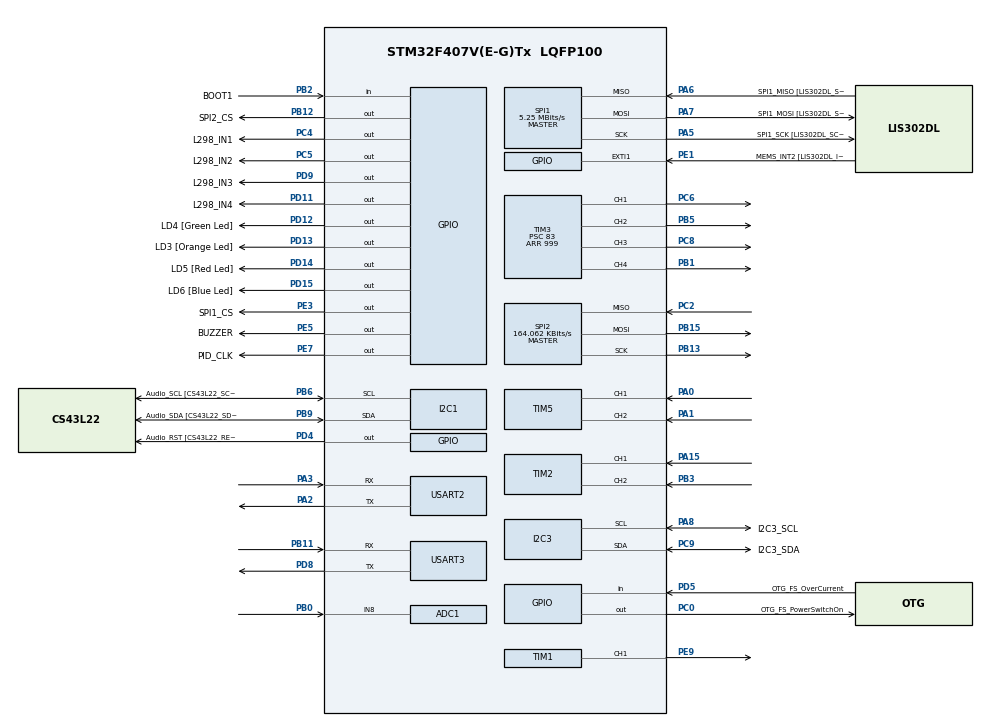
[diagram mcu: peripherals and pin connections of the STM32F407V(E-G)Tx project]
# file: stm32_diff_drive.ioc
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ADC1.Channel-2\#ChannelRegularConversion=ADC_CHANNEL_8
ADC1.NbrOfConversionFlag=1
ADC1.Rank-2\#ChannelRegularConversion=1
ADC1.SamplingTime-2\#ChannelRegularConversion=ADC_SAMPLETIME_3CYCLES
ADC1.master=1
Dma.Request0=TIM1_CH1
Dma.Request1=USART3_RX
Dma.Request2=USART3_TX
Dma.TIM1_CH1.0.Direction=DMA_MEMORY_TO_PERIPH
Dma.TIM1_CH1.0.FIFOMode=DMA_FIFOMODE_DISABLE
Dma.TIM1_CH1.0.Instance=DMA2_Stream1
Dma.TIM1_CH1.0.MemDataAlignment=DMA_MDATAALIGN_HALFWORD
Dma.TIM1_CH1.0.MemInc=DMA_MINC_ENABLE
Dma.TIM1_CH1.0.Mode=DMA_NORMAL
Dma.TIM1_CH1.0.PeriphDataAlignment=DMA_PDATAALIGN_HALFWORD
Dma.TIM1_CH1.0.PeriphInc=DMA_PINC_DISABLE
Dma.TIM1_CH1.0.Priority=DMA_PRIORITY_VERY_HIGH
Dma.USART3_RX.1.Direction=DMA_PERIPH_TO_MEMORY
Dma.USART3_RX.1.FIFOMode=DMA_FIFOMODE_DISABLE
Dma.USART3_RX.1.Instance=DMA1_Stream1
Dma.USART3_RX.1.MemDataAlignment=DMA_MDATAALIGN_BYTE
Dma.USART3_RX.1.MemInc=DMA_MINC_ENABLE
Dma.USART3_RX.1.Mode=DMA_CIRCULAR
Dma.USART3_RX.1.PeriphDataAlignment=DMA_PDATAALIGN_BYTE
Dma.USART3_RX.1.PeriphInc=DMA_PINC_DISABLE
Dma.USART3_RX.1.Priority=DMA_PRIORITY_VERY_HIGH
Dma.USART3_TX.2.Direction=DMA_MEMORY_TO_PERIPH
Dma.USART3_TX.2.FIFOMode=DMA_FIFOMODE_DISABLE
Dma.USART3_TX.2.Instance=DMA1_Stream3
Dma.USART3_TX.2.MemDataAlignment=DMA_MDATAALIGN_BYTE
Dma.USART3_TX.2.MemInc=DMA_MINC_ENABLE
Dma.USART3_TX.2.Mode=DMA_NORMAL
Dma.USART3_TX.2.PeriphDataAlignment=DMA_PDATAALIGN_BYTE
Dma.USART3_TX.2.PeriphInc=DMA_PINC_DISABLE
Dma.USART3_TX.2.Priority=DMA_PRIORITY_HIGH
I2C3.I2C_Mode=I2C_Standard
Mcu.Family=STM32F4
Mcu.Name=STM32F407V(E-G)Tx
Mcu.Package=LQFP100
NVIC.ADC_IRQn=true\:0\:0\:false\:false\:true\:true\:true\:true
NVIC.DMA1_Stream1_IRQn=true\:0\:0\:false\:false\:true\:false\:true\:true
NVIC.DMA1_Stream3_IRQn=true\:0\:0\:false\:false\:true\:false\:true\:true
NVIC.DMA2_Stream1_IRQn=true\:0\:0\:false\:false\:true\:false\:true\:true
NVIC.PriorityGroup=NVIC_PRIORITYGROUP_0
NVIC.TIM1_UP_TIM10_IRQn=true\:0\:0\:false\:false\:true\:true\:true\:true
NVIC.TIM2_IRQn=true\:0\:0\:false\:false\:true\:true\:true\:true
NVIC.TIM5_IRQn=true\:0\:0\:false\:false\:true\:true\:true\:true
NVIC.TIM7_IRQn=true\:0\:0\:false\:false\:true\:true\:true\:true
NVIC.USART2_IRQn=true\:0\:0\:false\:false\:true\:true\:true\:true
NVIC.USART3_IRQn=true\:0\:0\:false\:false\:true\:true\:true\:true
PA0-WKUP.Signal=S_TIM5_CH1
PA1.Signal=S_TIM5_CH2
PA10.GPIO_Label=OTG_FS_ID
PA10.GPIO_Mode=GPIO_MODE_AF_PP
PA10.GPIO_PuPd=GPIO_NOPULL
PA10.GPIO_Speed=GPIO_SPEED_FREQ_LOW
PA10.Signal=USB_OTG_FS_ID
PA11.GPIO_Label=OTG_FS_DM
PA11.GPIO_Mode=GPIO_MODE_AF_PP
PA11.GPIO_PuPd=GPIO_NOPULL
PA11.GPIO_Speed=GPIO_SPEED_FREQ_LOW
PA11.Signal=USB_OTG_FS_DM
PA12.GPIO_Label=OTG_FS_DP
PA12.GPIO_Mode=GPIO_MODE_AF_PP
PA12.GPIO_PuPd=GPIO_NOPULL
PA12.GPIO_Speed=GPIO_SPEED_FREQ_LOW
PA12.Signal=USB_OTG_FS_DP
PA13.GPIO_Label=SWDIO
PA13.Mode=Serial_Wire
PA13.Signal=SYS_JTMS-SWDIO
PA14.GPIO_Label=SWCLK
PA14.Mode=Serial_Wire
PA14.Signal=SYS_JTCK-SWCLK
PA15.Signal=S_TIM2_CH1_ETR
PA2.Mode=Asynchronous
PA2.Signal=USART2_TX
PA3.Mode=Asynchronous
PA3.Signal=USART2_RX
PA4.GPIO_Label=I2S3_WS [CS43L22_LRCK]
PA4.GPIO_Mode=GPIO_MODE_AF_PP
PA4.GPIO_PuPd=GPIO_NOPULL
PA4.GPIO_Speed=GPIO_SPEED_FREQ_LOW
PA4.Signal=I2S3_WS
PA5.GPIO_Label=SPI1_SCK [LIS302DL_SCL/SPC]
PA5.GPIO_Mode=GPIO_MODE_AF_PP
PA5.GPIO_PuPd=GPIO_NOPULL
PA5.GPIO_Speed=GPIO_SPEED_FREQ_LOW
PA5.Mode=Full_Duplex_Master
PA5.Signal=SPI1_SCK
PA6.GPIO_Label=SPI1_MISO [LIS302DL_SDO]
PA6.GPIO_Mode=GPIO_MODE_AF_PP
PA6.GPIO_PuPd=GPIO_NOPULL
PA6.GPIO_Speed=GPIO_SPEED_FREQ_LOW
PA6.Mode=Full_Duplex_Master
PA6.Signal=SPI1_MISO
PA7.GPIO_Label=SPI1_MOSI [LIS302DL_SDA/SDI/SDO]
PA7.GPIO_Mode=GPIO_MODE_AF_PP
PA7.GPIO_PuPd=GPIO_NOPULL
PA7.GPIO_Speed=GPIO_SPEED_FREQ_LOW
PA7.Mode=Full_Duplex_Master
PA7.Signal=SPI1_MOSI
PA8.GPIO_Label=I2C3_SCL
PA8.GPIO_Pu=GPIO_NOPULL
PA8.GPIO_Speed=GPIO_SPEED_FREQ_LOW
PA8.Mode=I2C
PA8.Signal=I2C3_SCL
PA9.GPIO_Label=VBUS_FS
PA9.GPIO_Mode=GPIO_MODE_INPUT
PA9.GPIO_PuPd=GPIO_NOPULL
PA9.Signal=USB_OTG_FS_VBUS
PB0.Signal=ADCx_IN8
PB1.Signal=S_TIM3_CH4
PB10.GPIO_Label=CLK_IN [MP45DT02_CLK]
PB10.GPIO_Mode=GPIO_MODE_AF_PP
PB10.GPIO_PuPd=GPIO_NOPULL
PB10.GPIO_Speed=GPIO_SPEED_FREQ_LOW
PB10.Signal=I2S2_CK
PB11.Mode=Asynchronous
PB11.Signal=USART3_RX
PB12.GPIO_Label=SPI2_CS
PB12.PinState=GPIO_PIN_SET
PB12.Signal=GPIO_Output
PB13.Mode=Full_Duplex_Master
PB13.Signal=SPI2_SCK
PB15.Mode=Full_Duplex_Master
PB15.Signal=SPI2_MOSI
PB2.GPIO_Label=BOOT1
PB2.Signal=GPIO_Input
PB3.Signal=S_TIM2_CH2
PB5.Signal=S_TIM3_CH2
PB6.GPIO_Label=Audio_SCL [CS43L22_SCL]
PB6.GPIO_Mode=GPIO_MODE_AF_OD
PB6.GPIO_Pu=GPIO_PULLUP
PB6.GPIO_PuPd=GPIO_NOPULL
PB6.GPIO_Speed=GPIO_SPEED_FREQ_LOW
PB6.Mode=I2C
PB6.Signal=I2C1_SCL
PB9.GPIO_Label=Audio_SDA [CS43L22_SDA]
PB9.GPIO_Mode=GPIO_MODE_AF_OD
PB9.GPIO_Pu=GPIO_PULLUP
PB9.GPIO_PuPd=GPIO_NOPULL
PB9.GPIO_Speed=GPIO_SPEED_FREQ_LOW
PB9.Mode=I2C
PB9.Signal=I2C1_SDA
PC0.GPIO_Label=OTG_FS_PowerSwitchOn
PC0.GPIO_PuPd=GPIO_NOPULL
PC0.GPIO_Speed=GPIO_SPEED_FREQ_LOW
PC0.PinState=GPIO_PIN_SET
PC0.Signal=GPIO_Output
PC10.GPIO_Label=I2S3_SCK [CS43L22_SCLK]
PC10.GPIO_Mode=GPIO_MODE_AF_PP
PC10.GPIO_PuPd=GPIO_NOPULL
PC10.GPIO_Speed=GPIO_SPEED_FREQ_LOW
PC10.Signal=I2S3_CK
PC12.GPIO_Label=I2S3_SD [CS43L22_SDIN]
PC12.GPIO_Mode=GPIO_MODE_AF_PP
PC12.GPIO_PuPd=GPIO_NOPULL
PC12.GPIO_Speed=GPIO_SPEED_FREQ_LOW
PC12.Signal=I2S3_SD
PC14-OSC32_IN.GPIO_Label=PC14-OSC32_IN
PC14-OSC32_IN.Mode=LSE-External-Oscillator
PC14-OSC32_IN.Signal=RCC_OSC32_IN
PC15-OSC32_OUT.GPIO_Label=PC15-OSC32_OUT
PC15-OSC32_OUT.Mode=LSE-External-Oscillator
PC15-OSC32_OUT.Signal=RCC_OSC32_OUT
PC2.Mode=Full_Duplex_Master
PC2.Signal=SPI2_MISO
PC3.GPIO_Label=PDM_OUT [MP45DT02_DOUT]
PC3.GPIO_Mode=GPIO_MODE_AF_PP
PC3.GPIO_PuPd=GPIO_NOPULL
PC3.GPIO_Speed=GPIO_SPEED_FREQ_LOW
PC3.Signal=I2S2_SD
PC4.GPIO_Label=L298_IN1
PC4.Signal=GPIO_Output
PC5.GPIO_Label=L298_IN2
PC5.Signal=GPIO_Output
PC6.Signal=S_TIM3_CH1
PC7.GPIO_Label=I2S3_MCK [CS43L22_MCLK]
PC7.GPIO_Mode=GPIO_MODE_AF_PP
PC7.GPIO_PuPd=GPIO_NOPULL
PC7.GPIO_Speed=GPIO_SPEED_FREQ_LOW
PC7.Signal=I2S3_MCK
PC8.Signal=S_TIM3_CH3
PC9.GPIO_Label=I2C3_SDA
PC9.GPIO_Pu=GPIO_NOPULL
PC9.GPIO_Speed=GPIO_SPEED_FREQ_LOW
PC9.Mode=I2C
PC9.Signal=I2C3_SDA
PD11.GPIO_Label=L298_IN4
PD11.Signal=GPIO_Output
PD12.GPIO_Label=LD4 [Green Led]
PD12.GPIO_PuPd=GPIO_NOPULL
PD12.GPIO_Speed=GPIO_SPEED_FREQ_LOW
PD12.Signal=GPIO_Output
PD13.GPIO_Label=LD3 [Orange Led]
PD13.GPIO_PuPd=GPIO_NOPULL
PD13.GPIO_Speed=GPIO_SPEED_FREQ_LOW
PD13.Signal=GPIO_Output
PD14.GPIO_Label=LD5 [Red Led]
PD14.GPIO_PuPd=GPIO_NOPULL
PD14.GPIO_Speed=GPIO_SPEED_FREQ_LOW
PD14.Signal=GPIO_Output
PD15.GPIO_Label=LD6 [Blue Led]
PD15.GPIO_PuPd=GPIO_NOPULL
PD15.GPIO_Speed=GPIO_SPEED_FREQ_LOW
PD15.Signal=GPIO_Output
PD4.GPIO_Label=Audio_RST [CS43L22_RESET]
PD4.GPIO_PuPd=GPIO_NOPULL
PD4.GPIO_Speed=GPIO_SPEED_FREQ_LOW
PD4.Signal=GPIO_Output
PD5.GPIO_Label=OTG_FS_OverCurrent
PD5.GPIO_Mode=GPIO_MODE_INPUT
PD5.GPIO_PuPd=GPIO_NOPULL
PD5.Signal=GPIO_Input
PD8.Mode=Asynchronous
PD8.Signal=USART3_TX
PD9.GPIO_Label=L298_IN3
PD9.Signal=GPIO_Output
PE1.GPIO_Label=MEMS_INT2 [LIS302DL_INT2]
PE1.GPIO_ModeDefaultEXTI=GPIO_MODE_EVT_RISING
PE1.GPIO_PuPd=GPIO_NOPULL
PE1.Signal=GPXTI1
PE3.GPIO_Label=SPI1_CS
PE3.Signal=GPIO_Output
PE5.GPIO_Label=BUZZER
PE5.Signal=GPIO_Output
PE7.GPIO_Label=PID_CLK
PE7.Signal=GPIO_Output
PE9.Signal=S_TIM1_CH1
PH0-OSC_IN.GPIO_Label=PH0-OSC_IN
PH0-OSC_IN.Mode=HSE-External-Oscillator
PH0-OSC_IN.Signal=RCC_OSC_IN
PH1-OSC_OUT.GPIO_Label=PH1-OSC_OUT
PH1-OSC_OUT.Mode=HSE-External-Oscillator
PH1-OSC_OUT.Signal=RCC_OSC_OUT
ProjectManager.HeapSize=0x200
ProjectManager.StackSize=0x400
ProjectManager.TargetToolchain=STM32CubeIDE
RCC.48MHZClocksFreq_Value=48000000
RCC.AHBFreq_Value=168000000
RCC.APB1CLKDivider=RCC_HCLK_DIV4
RCC.APB1Freq_Value=42000000
RCC.APB1TimFreq_Value=84000000
RCC.APB2CLKDivider=RCC_HCLK_DIV2
RCC.APB2Freq_Value=84000000
RCC.APB2TimFreq_Value=168000000
RCC.CortexFreq_Value=168000000
RCC.HCLKFreq_Value=168000000
RCC.HSE_VALUE=8000000
RCC.HSI_VALUE=16000000
RCC.PLLM=8
RCC.PLLN=336
RCC.PLLQ=7
RCC.PLLSourceVirtual=RCC_PLLSOURCE_HSE
RCC.SYSCLKFreq_VALUE=168000000
RCC.SYSCLKSource=RCC_SYSCLKSOURCE_PLLCLK
RCC.VCOOutputFreq_Value=336000000
SH.ADCx_IN8.0=ADC1_IN8,IN8
SH.S_TIM1_CH1.0=TIM1_CH1,PWM Generation1 CH1
SH.S_TIM2_CH1_ETR.0=TIM2_CH1,Encoder_Interface
SH.S_TIM2_CH2.0=TIM2_CH2,Encoder_Interface
SH.S_TIM3_CH1.0=TIM3_CH1,PWM Generation1 CH1
SH.S_TIM3_CH2.0=TIM3_CH2,PWM Generation2 CH2
SH.S_TIM3_CH3.0=TIM3_CH3,PWM Generation3 CH3
SH.S_TIM3_CH4.0=TIM3_CH4,PWM Generation4 CH4
SH.S_TIM5_CH1.0=TIM5_CH1,Encoder_Interface
SH.S_TIM5_CH2.0=TIM5_CH2,Encoder_Interface
SPI1.BaudRatePrescaler=SPI_BAUDRATEPRESCALER_16
SPI1.BaudRatePrescaler-Full_Duplex_Master=SPI_BAUDRATEPRESCALER_2
SPI1.CalculateBaudRate=5.25 MBits/s
SPI1.CalculateBaudRate-Full_Duplex_Master=42.0 MBits/s
SPI1.Direction=SPI_DIRECTION_2LINES
SPI1.Mode=SPI_MODE_MASTER
SPI1.Mode-Full_Duplex_Master=SPI_MODE_MASTER
SPI1.VirtualType=VM_MASTER
SPI2.BaudRatePrescaler=SPI_BAUDRATEPRESCALER_256
SPI2.CLKPhase=SPI_PHASE_2EDGE
SPI2.CLKPolarity=SPI_POLARITY_HIGH
SPI2.CalculateBaudRate=164.062 KBits/s
SPI2.Direction=SPI_DIRECTION_2LINES
SPI2.FirstBit=SPI_FIRSTBIT_LSB
SPI2.Mode=SPI_MODE_MASTER
SPI2.TIMode=SPI_TIMODE_DISABLE
SPI2.VirtualType=VM_MASTER
TIM1.AutoReloadPreload=TIM_AUTORELOAD_PRELOAD_ENABLE
TIM1.Channel-PWM\ Generation1\ CH1=TIM_CHANNEL_1
TIM1.Period=209
TIM10.Period=19999
TIM10.Prescaler=167
TIM2.AutoReloadPreload=TIM_AUTORELOAD_PRELOAD_ENABLE
TIM2.EncoderMode=TIM_ENCODERMODE_TI12
TIM2.IC1Filter=10
TIM3.AutoReloadPreload=TIM_AUTORELOAD_PRELOAD_ENABLE
TIM3.Channel-PWM\ Generation1\ CH1=TIM_CHANNEL_1
TIM3.Channel-PWM\ Generation2\ CH2=TIM_CHANNEL_2
TIM3.Channel-PWM\ Generation3\ CH3=TIM_CHANNEL_3
TIM3.Channel-PWM\ Generation4\ CH4=TIM_CHANNEL_4
TIM3.Period=999
TIM3.Prescaler=83
TIM5.AutoReloadPreload=TIM_AUTORELOAD_PRELOAD_ENABLE
TIM5.EncoderMode=TIM_ENCODERMODE_TI12
TIM5.IC1Filter=10
TIM5.IC2Filter=10
TIM7.Period=4999
TIM7.Prescaler=8399
USART2.VirtualMode=VM_ASYNC
USART3.VirtualMode=VM_ASYNC
VP_TIM10_VS_ClockSourceINT.Mode=Enable_Timer
VP_TIM1_VS_ClockSourceINT.Mode=Internal
VP_TIM3_VS_ClockSourceINT.Mode=Internal
VP_TIM7_VS_ClockSourceINT.Mode=Enable_Timer
board=STM32F407G-DISC1

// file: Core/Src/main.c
/* USER CODE BEGIN Header */
/**
  ******************************************************************************
  * @file           : main.c
  * @brief          : Main program body
  ******************************************************************************
  * @attention
  *
  * Copyright (c) 2026 STMicroelectronics.
  * All rights reserved.
  *
  * This software is licensed under terms that can be found in the LICENSE file
  * in the root directory of this software component.
  * If no LICENSE file comes with this software, it is provided AS-IS.
  *
  ******************************************************************************
  */
/* USER CODE END Header */
#include "main.h"
#include "adc.h"
#include "dma.h"
#include "i2c.h"
#include "spi.h"
#include "tim.h"
#include "usart.h"
#include "gpio.h"

/* USER CODE BEGIN Includes */
#include <stdio.h>
#include "peri_control.h"
#include "uart_lib.h"

/* USER CODE END Includes */

/* USER CODE BEGIN PV */
uint8_t is_first_capture = 1;
uint32_t last_capture = 0;
uint32_t duty_cycle = 0;
uint32_t pulse_width = 0;
uint16_t adc_value;
uint32_t ms_tick_count = 0;

/* USER CODE END PV */

void SystemClock_Config(void);

/* USER CODE BEGIN 0 */
// int _write(int file, char *ptr, int len)
//{
//     for (int i = 0; i < len; i++) {
//         ITM_SendChar((*ptr++));
//     }
//     return len;
// }

int __io_putchar(int ch)
{
    USART2_sendChar(ch);
    return ch;
}

// Handler for input capture, calculate duty cycle
void input_capture_tim3_cc1_handler(uint32_t captured_value) {
    if (is_first_capture) {
        last_capture = captured_value;
        is_first_capture = 0;
        return;
    }

    if (captured_value >= last_capture) {
        duty_cycle = captured_value - last_capture;
    } else {
        // Handle timer overflow
        duty_cycle = (0xFFFF - last_capture) + captured_value + 1;
    }

    last_capture = captured_value;

    // Print duty cycle for debugging
    // printf("Captured Duty Cycle: %lu\r\n", duty_cycle);

}

// Measure pulse width on falling edge, used for echo signal from ultrasonic sensor
void input_capture_tim3_cc2_handler(uint32_t falling_value) {
    // Calculate pulse width, when falling edge is captured - rising edge was stored
    if (falling_value >= last_capture) {
        pulse_width = falling_value - last_capture;
    } else {
        // Handle timer overflow
        pulse_width = (0xFFFF - last_capture) + falling_value + 1;
    }

    // float distance = ((float) pulse_width * 0.0343f) / 2.0f; // in cm
    // printf("Distance (cm): %d\r\n", (int) distance);
}

// ADC conversion complete interrupt handler
void adc1_interrupt_handler(uint16_t val)
{
    adc_value = val;
    // printf("ADC Value: %d\r\n", adc_value);
}

float ADC_readTemperature(uint16_t adc_raw)
{
    float vsense;
    float temperature;

    // Convert to Vsense
    vsense = (float)adc_raw * 3300.0f / 4095.0f;

    // Calculate temperature in Celsius
    temperature = ((vsense - 760.0f) / 2.5f) + 25.0f;

    return temperature;
}

void tim7_interrupt_handler(void)
{
    // Trigger ADC conversion
    ADC1_triggerConvert();

    // Toggle LED LD3
    LL_GPIO_TogglePin(LD3_GPIO_Port, LD3_Pin);

    // // Printf encoder
    // encoder_count = getEncoderCount(MOTOR_L);
    // LOG_DBG("Left Encoder Count: %ld\r\n", encoder_count);
    // encoder_count = getEncoderCount(MOTOR_R);
    // LOG_DBG("Right Encoder Count: %ld\r\n", encoder_count);
}

// Tim10 interrupt for control motor with PID at 100 Hz
void tim10_interrupt_handler(void)
{
  peripheral_tim10_interrupt_handler();
}

void sys_tick_handler(void)
{
    ms_tick_count++;
}

uint32_t get_ms_tick_count(void)
{
    return ms_tick_count;
}

uint64_t get_us_tick_count(void)
{
    // Return microsecond tick count based on ms_tick_count and get current SysTick value for finer resolution
     uint32_t systick_val = SysTick->VAL; // Current SysTick counter value
     uint32_t systick_reload = SysTick->LOAD; // SysTick reload value

     // Calculate elapsed microseconds since last millisecond tick
    uint64_t us_tick_count = (systick_reload - systick_val) / (SystemCoreClock / 1000000);
    return (ms_tick_count * 1000) + (us_tick_count % 1000);
}

void delay_us(uint32_t us)
{
    uint64_t start = get_us_tick_count();
    while ((get_us_tick_count() - start) < us);
}

/* USER CODE END 0 */

int main(void)
{

  /* MCU Configuration--------------------------------------------------------*/

  /* Reset of all peripherals, Initializes the Flash interface and the Systick. */
  LL_APB2_GRP1_EnableClock(LL_APB2_GRP1_PERIPH_SYSCFG);
  LL_APB1_GRP1_EnableClock(LL_APB1_GRP1_PERIPH_PWR);

  /* System interrupt init*/
  NVIC_SetPriorityGrouping(NVIC_PRIORITYGROUP_0);

  /* USER CODE BEGIN Init */
  // Disable all interrupts during setup
  __disable_irq();

  /* USER CODE END Init */

  /* Configure the system clock */
  SystemClock_Config();

  /* USER CODE BEGIN SysInit */
    LL_SYSTICK_EnableIT();

  /* USER CODE END SysInit */

  /* Initialize all configured peripherals */
  MX_GPIO_Init();
  MX_DMA_Init();
  MX_I2C1_Init();
  MX_SPI1_Init();
  MX_ADC1_Init();
  MX_TIM2_Init();
  MX_TIM3_Init();
  MX_TIM5_Init();
  MX_TIM7_Init();
  MX_USART2_UART_Init();
  MX_SPI2_Init();
  MX_TIM10_Init();
  MX_TIM1_Init();
  MX_USART3_UART_Init();
  MX_I2C3_Init();
  /* USER CODE BEGIN 2 */
    peripheral_init();
    uart3_comm_init();

    // Enable interrupts after setup
    __enable_irq();
  /* USER CODE END 2 */

  /* Infinite loop */
  /* USER CODE BEGIN WHILE */
  while (1)
  {
    uart3_comm_poll();
    peripheral_control_loop();
    /* USER CODE END WHILE */

  }
}

void SystemClock_Config(void)
{
  LL_FLASH_SetLatency(LL_FLASH_LATENCY_5);
  while(LL_FLASH_GetLatency()!= LL_FLASH_LATENCY_5)
  {
  }
  LL_PWR_SetRegulVoltageScaling(LL_PWR_REGU_VOLTAGE_SCALE1);
  LL_RCC_HSE_Enable();

   /* Wait till HSE is ready */
  while(LL_RCC_HSE_IsReady() != 1)
  {

  }
  LL_RCC_PLL_ConfigDomain_SYS(LL_RCC_PLLSOURCE_HSE, LL_RCC_PLLM_DIV_8, 336, LL_RCC_PLLP_DIV_2);
  LL_RCC_PLL_Enable();

   /* Wait till PLL is ready */
  while(LL_RCC_PLL_IsReady() != 1)
  {

  }
  while (LL_PWR_IsActiveFlag_VOS() == 0)
  {
  }
  LL_RCC_SetAHBPrescaler(LL_RCC_SYSCLK_DIV_1);
  LL_RCC_SetAPB1Prescaler(LL_RCC_APB1_DIV_4);
  LL_RCC_SetAPB2Prescaler(LL_RCC_APB2_DIV_2);
  LL_RCC_SetSysClkSource(LL_RCC_SYS_CLKSOURCE_PLL);

   /* Wait till System clock is ready */
  while(LL_RCC_GetSysClkSource() != LL_RCC_SYS_CLKSOURCE_STATUS_PLL)
  {

  }
  LL_Init1msTick(168000000);
  LL_SetSystemCoreClock(168000000);
}

void Error_Handler(void)
{
    __disable_irq();
    while (1) {}
}
